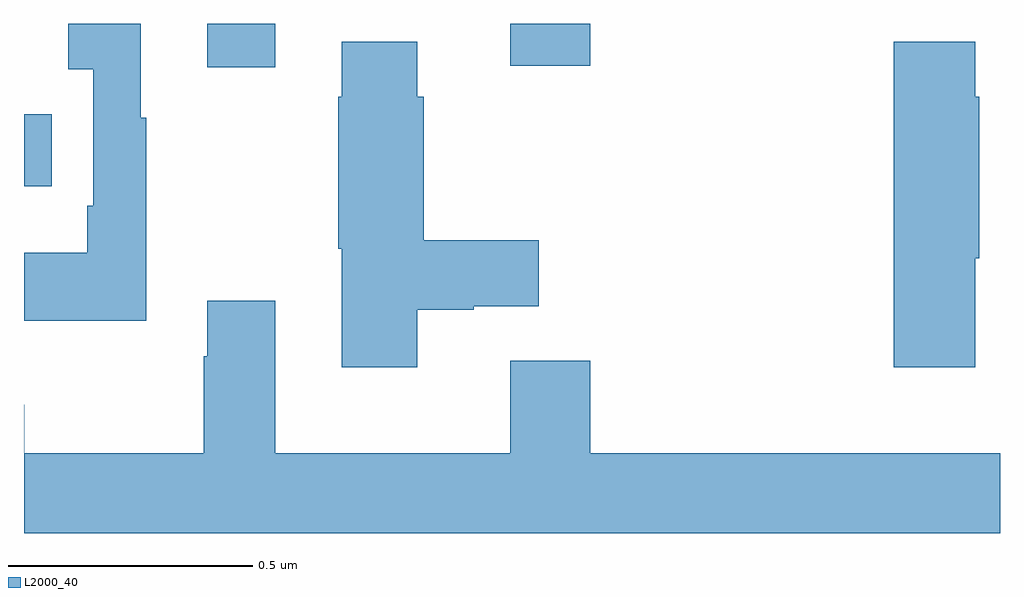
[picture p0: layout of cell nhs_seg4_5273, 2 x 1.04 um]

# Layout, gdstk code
import gdstk
lib = gdstk.Library(unit=1e-6, precision=1e-09)
def R(c, l, rs):  # rectangles x0, y0, x1, y1
    for r in rs: c.add(gdstk.rectangle(r[:2], r[2:], *l))
def P(c, l, *ps):  # polygons
    for p in ps: c.add(gdstk.Polygon(p, *l))
L2000_40 = (2000, 40)

nhs_seg4_5273 = lib.new_cell('nhs_seg4_5273')
R(nhs_seg4_5273, L2000_40, [(176,761.567,176.057,761.715), (176.375,761.811,176.515,761.9), (176.996,761.814,177.16,761.9)])
P(nhs_seg4_5273, L2000_40, [(176.251,761.707),(176.239,761.707),(176.239,761.9),(176.091,761.9),(176.091,761.807),(176.142,761.807),(176.142,761.527),(176.13,761.527),(176.13,761.431),(176,761.431),(176,761.291),(176.251,761.291)],
  [(177.949,761.419),(177.957,761.419),(177.957,761.75),(177.949,761.75),(177.949,761.863),(177.782,761.863),(177.782,761.196),(177.949,761.196)],
  [(176.806,761.314),(176.922,761.314),(176.922,761.321),(177.055,761.321),(177.055,761.456),(176.819,761.456),(176.819,761.75),(176.806,761.75),(176.806,761.863),(176.651,761.863),(176.651,761.75),(176.644,761.75),(176.644,761.439),(176.651,761.439),(176.651,761.196),(176.806,761.196)],
  [(178,761.02),(177.16,761.02),(177.16,761.209),(176.996,761.209),(176.996,761.02),(176.515,761.02),(176.515,761.332),(176.375,761.332),(176.375,761.219),(176.368,761.219),(176.368,761.02),(176.001,761.02),(176.001,761.119),(176,761.119),(176,760.856),(178,760.856)])

lib.write_gds('nhs_seg4_5273.gds')
